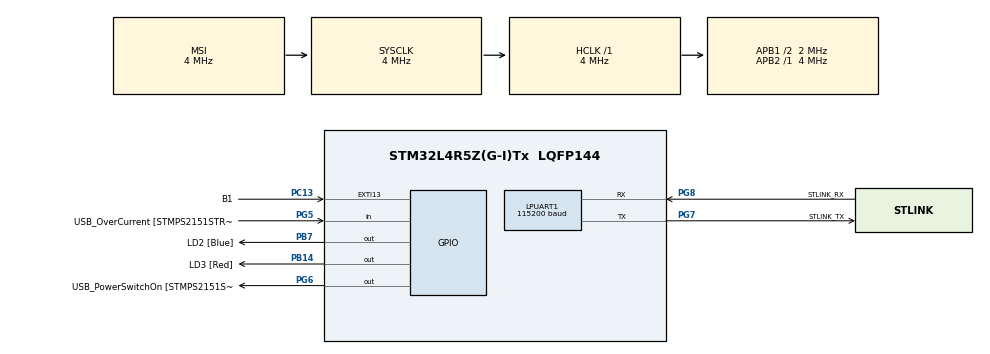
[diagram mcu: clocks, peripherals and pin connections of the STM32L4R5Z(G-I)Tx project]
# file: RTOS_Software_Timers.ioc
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LPUART1.BaudRate=115200
LPUART1.WordLength=UART_WORDLENGTH_8B
Mcu.Family=STM32L4
Mcu.Name=STM32L4R5Z(G-I)Tx
Mcu.Package=LQFP144
NVIC.PriorityGroup=NVIC_PRIORITYGROUP_4
NVIC.TIM6_DAC_IRQn=true\:15\:0\:false\:false\:true\:false\:true\:true
NVIC.TimeBase=TIM6_DAC_IRQn
NVIC.TimeBaseIP=TIM6
PA10.GPIO_Label=USB_ID
PA10.Signal=USB_OTG_FS_ID
PA11.GPIO_Label=USB_DM
PA11.Signal=USB_OTG_FS_DM
PA12.GPIO_Label=USB_DP
PA12.Signal=USB_OTG_FS_DP
PA13\ (JTMS/SWDIO).GPIO_Label=TMS
PA13\ (JTMS/SWDIO).Mode=Serial_Wire
PA13\ (JTMS/SWDIO).Signal=SYS_JTMS-SWDIO
PA14\ (JTCK/SWCLK).GPIO_Label=TCK
PA14\ (JTCK/SWCLK).Mode=Serial_Wire
PA14\ (JTCK/SWCLK).Signal=SYS_JTCK-SWCLK
PA8.GPIO_Label=USB_SOF [TP1]
PA8.Signal=USB_OTG_FS_SOF
PA9.GPIO_Label=USB_VBUS
PA9.Signal=USB_OTG_FS_VBUS
PB14.GPIO_Label=LD3 [Red]
PB14.Signal=GPIO_Output
PB3\ (JTDO/TRACESWO).GPIO_Label=SWO
PB3\ (JTDO/TRACESWO).Signal=SYS_JTDO-SWO
PB7.GPIO_Label=LD2 [Blue]
PB7.Signal=GPIO_Output
PC13.GPIO_Label=B1
PC13.Signal=GPXTI13
PC14-OSC32_IN\ (PC14).Mode=LSE-External-Oscillator
PC14-OSC32_IN\ (PC14).Signal=RCC_OSC32_IN
PC15-OSC32_OUT\ (PC15).Mode=LSE-External-Oscillator
PC15-OSC32_OUT\ (PC15).Signal=RCC_OSC32_OUT
PD8.GPIO_Label=STLK_RX [STM32F103CBT6_PA3]
PD8.Signal=USART3_TX
PD9.GPIO_Label=STLK_TX [STM32F103CBT6_PA2]
PD9.Signal=USART3_RX
PG5.GPIO_Label=USB_OverCurrent [STMPS2151STR_FAULT]
PG5.Signal=GPIO_Input
PG6.GPIO_Label=USB_PowerSwitchOn [STMPS2151STR_En]
PG6.Signal=GPIO_Output
PG7.GPIO_Label=STLINK_TX
PG7.Mode=Asynchronous
PG7.Signal=LPUART1_TX
PG8.GPIO_Label=STLINK_RX
PG8.Mode=Asynchronous
PG8.Signal=LPUART1_RX
PH0-OSC_IN\ (PH0).Mode=HSE-External-Clock-Source
PH0-OSC_IN\ (PH0).Signal=RCC_OSC_IN
PH1-OSC_OUT\ (PH1).Signal=RCC_OSC_OUT
ProjectManager.HeapSize=0x200
ProjectManager.StackSize=0x400
ProjectManager.TargetToolchain=STM32CubeIDE
RCC.48MHZClocksFreq_Value=24000000
RCC.AHBFreq_Value=4000000
RCC.APB1CLKDivider=RCC_HCLK_DIV2
RCC.APB1Freq_Value=2000000
RCC.APB1TimFreq_Value=4000000
RCC.APB2Freq_Value=4000000
RCC.APB2TimFreq_Value=4000000
RCC.CortexFreq_Value=4000000
RCC.HCLKFreq_Value=4000000
RCC.HSE_VALUE=8000000
RCC.HSI48_VALUE=48000000
RCC.HSI_VALUE=16000000
RCC.MSI_VALUE=4000000
RCC.PLLMUL=RCC_PLL_MUL9
RCC.PRESCALERUSB=RCC_USBCLKSOURCE_PLL_DIV1_5
RCC.SYSCLKFreq_VALUE=4000000
RCC.SYSCLKSourceVirtual=RCC_SYSCLKSOURCE_PLLCLK
RCC.USBFreq_Value=16000000
RCC.VCOOutputFreq_Value=32000000
VP_SYS_VS_tim6.Mode=TIM6
board=NUCLEO-L4R5ZI

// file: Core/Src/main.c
/* USER CODE BEGIN Header */
/**
  ******************************************************************************
  * @file           : main.c
  * @brief          : Main program body
  ******************************************************************************
  * @attention
  *
  * Copyright (c) 2024 STMicroelectronics.
  * All rights reserved.
  *
  * This software is licensed under terms that can be found in the LICENSE file
  * in the root directory of this software component.
  * If no LICENSE file comes with this software, it is provided AS-IS.
  *
  ******************************************************************************
  */
/* USER CODE END Header */
#include "main.h"

/* USER CODE BEGIN Includes */
#include "FreeRTOS.h"
#include "task.h"
#include "timers.h"
#include "semphr.h"
/* USER CODE END Includes */

UART_HandleTypeDef hlpuart1;

/* USER CODE BEGIN PV */
TimerHandle_t PRT_Handler, OST_Handler;
TaskHandle_t uartHandle,LedHandle;
/* USER CODE END PV */

void SystemClock_Config(void);
static void MX_GPIO_Init(void);
static void MX_LPUART1_UART_Init(void);

/* USER CODE BEGIN 0 */
void UartTask(void *params)
{
//	xTimerStart(PRT_Handler,0);
	while(1)
	{
		uint8_t buf[] = "sending from uart task\n\r";
		HAL_UART_Transmit(&hlpuart1, buf, sizeof(buf), HAL_MAX_DELAY);
		vTaskDelay(pdMS_TO_TICKS(2000));
	}
}

void LedTask(void *params)
{
	while(1)
	{
		if(HAL_GPIO_ReadPin(B1_GPIO_Port, B1_Pin) == GPIO_PIN_SET)
		{
			HAL_GPIO_WritePin(LD2_GPIO_Port, LD2_Pin, GPIO_PIN_SET);
	//		xTimerStart(OST_Handler,0);
		}
		vTaskDelay(pdMS_TO_TICKS(20));
	}
}

void timer_callback(xTimerHandle xtimer)
{
	if(xtimer == PRT_Handler)
	{
		uint8_t buf[] = "sending from Callback function\n\r";
		HAL_UART_Transmit(&hlpuart1, buf, sizeof(buf), HAL_MAX_DELAY);
	}
	if(xtimer == OST_Handler)
	{
		HAL_GPIO_WritePin(LD2_GPIO_Port, LD2_Pin, GPIO_PIN_RESET);
	}
}
/* USER CODE END 0 */

int main(void)
{

  /* MCU Configuration--------------------------------------------------------*/

  /* Reset of all peripherals, Initializes the Flash interface and the Systick. */
  HAL_Init();

  /* Configure the system clock */
  SystemClock_Config();

  /* Initialize all configured peripherals */
  MX_GPIO_Init();
  MX_LPUART1_UART_Init();
  /* USER CODE BEGIN 2 */
//  PRT_Handler = xTimerCreate("timer1", pdMS_TO_TICKS(1000), pdTRUE, (void*)	1, timer_callback);
//  OST_Handler = xTimerCreate("timer2", pdMS_TO_TICKS(4000), pdFALSE, (void*) 2, timer_callback);
//
//  if(PRT_Handler != NULL  && OST_Handler != NULL)
//  {
//		uint8_t buf[] = "timer handlers created\n\r";
//		HAL_UART_Transmit(&hlpuart1, buf, sizeof(buf), HAL_MAX_DELAY);
//  }
  xTaskCreate(UartTask, "task1", configMINIMAL_STACK_SIZE, NULL, 1, &uartHandle);
  xTaskCreate(LedTask, "task2", configMINIMAL_STACK_SIZE, NULL, 1, &LedHandle);

//  configASSERT(LedHandle);
//  configASSERT(uartHandle);
  vTaskStartScheduler();
  /* USER CODE END 2 */

  /* Infinite loop */
  while (1)
  {

  }
}

void SystemClock_Config(void)
{
  RCC_OscInitTypeDef RCC_OscInitStruct = {0};
  RCC_ClkInitTypeDef RCC_ClkInitStruct = {0};

  /** Configure the main internal regulator output voltage
  */
  if (HAL_PWREx_ControlVoltageScaling(PWR_REGULATOR_VOLTAGE_SCALE1) != HAL_OK)
  {
    Error_Handler();
  }

  /** Initializes the RCC Oscillators according to the specified parameters
  * in the RCC_OscInitTypeDef structure.
  */
  RCC_OscInitStruct.OscillatorType = RCC_OSCILLATORTYPE_MSI;
  RCC_OscInitStruct.MSIState = RCC_MSI_ON;
  RCC_OscInitStruct.MSICalibrationValue = 0;
  RCC_OscInitStruct.MSIClockRange = RCC_MSIRANGE_6;
  RCC_OscInitStruct.PLL.PLLState = RCC_PLL_NONE;
  if (HAL_RCC_OscConfig(&RCC_OscInitStruct) != HAL_OK)
  {
    Error_Handler();
  }

  /** Initializes the CPU, AHB and APB buses clocks
  */
  RCC_ClkInitStruct.ClockType = RCC_CLOCKTYPE_HCLK|RCC_CLOCKTYPE_SYSCLK
                              |RCC_CLOCKTYPE_PCLK1|RCC_CLOCKTYPE_PCLK2;
  RCC_ClkInitStruct.SYSCLKSource = RCC_SYSCLKSOURCE_MSI;
  RCC_ClkInitStruct.AHBCLKDivider = RCC_SYSCLK_DIV1;
  RCC_ClkInitStruct.APB1CLKDivider = RCC_HCLK_DIV2;
  RCC_ClkInitStruct.APB2CLKDivider = RCC_HCLK_DIV1;

  if (HAL_RCC_ClockConfig(&RCC_ClkInitStruct, FLASH_LATENCY_0) != HAL_OK)
  {
    Error_Handler();
  }
}

static void MX_LPUART1_UART_Init(void)
{

  hlpuart1.Instance = LPUART1;
  hlpuart1.Init.BaudRate = 115200;
  hlpuart1.Init.WordLength = UART_WORDLENGTH_8B;
  hlpuart1.Init.StopBits = UART_STOPBITS_1;
  hlpuart1.Init.Parity = UART_PARITY_NONE;
  hlpuart1.Init.Mode = UART_MODE_TX_RX;
  hlpuart1.Init.HwFlowCtl = UART_HWCONTROL_NONE;
  hlpuart1.Init.OneBitSampling = UART_ONE_BIT_SAMPLE_DISABLE;
  hlpuart1.Init.ClockPrescaler = UART_PRESCALER_DIV1;
  hlpuart1.AdvancedInit.AdvFeatureInit = UART_ADVFEATURE_NO_INIT;
  hlpuart1.FifoMode = UART_FIFOMODE_DISABLE;
  if (HAL_UART_Init(&hlpuart1) != HAL_OK)
  {
    Error_Handler();
  }
  if (HAL_UARTEx_SetTxFifoThreshold(&hlpuart1, UART_TXFIFO_THRESHOLD_1_8) != HAL_OK)
  {
    Error_Handler();
  }
  if (HAL_UARTEx_SetRxFifoThreshold(&hlpuart1, UART_RXFIFO_THRESHOLD_1_8) != HAL_OK)
  {
    Error_Handler();
  }
  if (HAL_UARTEx_DisableFifoMode(&hlpuart1) != HAL_OK)
  {
    Error_Handler();
  }

}

static void MX_GPIO_Init(void)
{
  GPIO_InitTypeDef GPIO_InitStruct = {0};

  /* GPIO Ports Clock Enable */
  __HAL_RCC_GPIOC_CLK_ENABLE();
  __HAL_RCC_GPIOH_CLK_ENABLE();
  __HAL_RCC_GPIOB_CLK_ENABLE();
  __HAL_RCC_GPIOD_CLK_ENABLE();
  __HAL_RCC_GPIOG_CLK_ENABLE();
  HAL_PWREx_EnableVddIO2();
  __HAL_RCC_GPIOA_CLK_ENABLE();

  /*Configure GPIO pin Output Level */
  HAL_GPIO_WritePin(GPIOB, LD3_Pin|LD2_Pin, GPIO_PIN_RESET);

  /*Configure GPIO pin Output Level */
  HAL_GPIO_WritePin(USB_PowerSwitchOn_GPIO_Port, USB_PowerSwitchOn_Pin, GPIO_PIN_RESET);

  /*Configure GPIO pin : B1_Pin */
  GPIO_InitStruct.Pin = B1_Pin;
  GPIO_InitStruct.Mode = GPIO_MODE_IT_RISING;
  GPIO_InitStruct.Pull = GPIO_NOPULL;
  HAL_GPIO_Init(B1_GPIO_Port, &GPIO_InitStruct);

  /*Configure GPIO pins : LD3_Pin LD2_Pin */
  GPIO_InitStruct.Pin = LD3_Pin|LD2_Pin;
  GPIO_InitStruct.Mode = GPIO_MODE_OUTPUT_PP;
  GPIO_InitStruct.Pull = GPIO_NOPULL;
  GPIO_InitStruct.Speed = GPIO_SPEED_FREQ_LOW;
  HAL_GPIO_Init(GPIOB, &GPIO_InitStruct);

  /*Configure GPIO pins : STLK_RX_Pin STLK_TX_Pin */
  GPIO_InitStruct.Pin = STLK_RX_Pin|STLK_TX_Pin;
  GPIO_InitStruct.Mode = GPIO_MODE_AF_PP;
  GPIO_InitStruct.Pull = GPIO_NOPULL;
  GPIO_InitStruct.Speed = GPIO_SPEED_FREQ_VERY_HIGH;
  GPIO_InitStruct.Alternate = GPIO_AF7_USART3;
  HAL_GPIO_Init(GPIOD, &GPIO_InitStruct);

  /*Configure GPIO pin : USB_OverCurrent_Pin */
  GPIO_InitStruct.Pin = USB_OverCurrent_Pin;
  GPIO_InitStruct.Mode = GPIO_MODE_INPUT;
  GPIO_InitStruct.Pull = GPIO_NOPULL;
  HAL_GPIO_Init(USB_OverCurrent_GPIO_Port, &GPIO_InitStruct);

  /*Configure GPIO pin : USB_PowerSwitchOn_Pin */
  GPIO_InitStruct.Pin = USB_PowerSwitchOn_Pin;
  GPIO_InitStruct.Mode = GPIO_MODE_OUTPUT_PP;
  GPIO_InitStruct.Pull = GPIO_NOPULL;
  GPIO_InitStruct.Speed = GPIO_SPEED_FREQ_LOW;
  HAL_GPIO_Init(USB_PowerSwitchOn_GPIO_Port, &GPIO_InitStruct);

  /*Configure GPIO pins : USB_SOF_Pin USB_ID_Pin USB_DM_Pin USB_DP_Pin */
  GPIO_InitStruct.Pin = USB_SOF_Pin|USB_ID_Pin|USB_DM_Pin|USB_DP_Pin;
  GPIO_InitStruct.Mode = GPIO_MODE_AF_PP;
  GPIO_InitStruct.Pull = GPIO_NOPULL;
  GPIO_InitStruct.Speed = GPIO_SPEED_FREQ_VERY_HIGH;
  GPIO_InitStruct.Alternate = GPIO_AF10_OTG_FS;
  HAL_GPIO_Init(GPIOA, &GPIO_InitStruct);

  /*Configure GPIO pin : USB_VBUS_Pin */
  GPIO_InitStruct.Pin = USB_VBUS_Pin;
  GPIO_InitStruct.Mode = GPIO_MODE_INPUT;
  GPIO_InitStruct.Pull = GPIO_NOPULL;
  HAL_GPIO_Init(USB_VBUS_GPIO_Port, &GPIO_InitStruct);

}

void HAL_TIM_PeriodElapsedCallback(TIM_HandleTypeDef *htim)
{
  if (htim->Instance == TIM6) {
    HAL_IncTick();
  }
}

void Error_Handler(void)
{
  __disable_irq();
  while (1)
  {
  }
}
